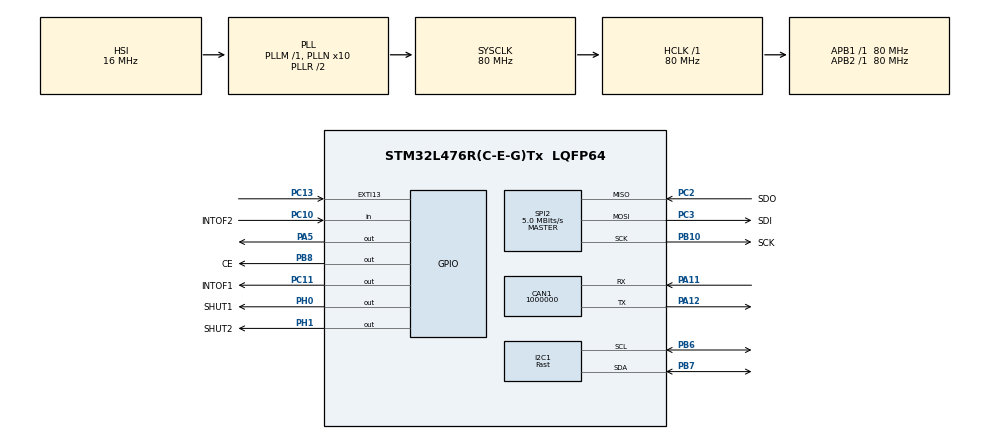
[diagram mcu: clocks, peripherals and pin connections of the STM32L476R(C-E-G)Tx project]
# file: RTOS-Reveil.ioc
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CAN1.BS1=CAN_BS1_3TQ
CAN1.CalculateBaudRate=1000000
CAN1.CalculateTimeBit=1000
CAN1.CalculateTimeQuantum=200.0
FREERTOS.INCLUDE_vTaskDelayUntil=1
FREERTOS.Tasks01=defaultTask,0,512,StartDefaultTask,Default,NULL,Dynamic,NULL,NULL
FREERTOS.configMINIMAL_STACK_SIZE=256
FREERTOS.configTOTAL_HEAP_SIZE=30000
FREERTOS.configUSE_NEWLIB_REENTRANT=1
I2C1.I2C_Speed_Mode=I2C_Fast
I2C1.Timing=0x00F12981
Mcu.Family=STM32L4
Mcu.Name=STM32L476R(C-E-G)Tx
Mcu.Package=LQFP64
NVIC.CAN1_TX_IRQn=true\:5\:0\:false\:false\:true\:true\:true\:true\:true
NVIC.EXTI15_10_IRQn=true\:5\:0\:false\:false\:true\:true\:false\:true\:true
NVIC.I2C1_EV_IRQn=true\:5\:0\:false\:false\:true\:true\:true\:true\:true
NVIC.PriorityGroup=NVIC_PRIORITYGROUP_4
NVIC.TIM6_DAC_IRQn=true\:15\:0\:false\:false\:true\:false\:false\:true\:true
NVIC.TimeBase=TIM6_DAC_IRQn
NVIC.TimeBaseIP=TIM6
PA11.Mode=CAN_Activate
PA11.Signal=CAN1_RX
PA12.Mode=CAN_Activate
PA12.Signal=CAN1_TX
PA13\ (JTMS-SWDIO).GPIO_Label=TMS
PA13\ (JTMS-SWDIO).Signal=SYS_JTMS-SWDIO
PA14\ (JTCK-SWCLK).GPIO_Label=TCK
PA14\ (JTCK-SWCLK).Signal=SYS_JTCK-SWCLK
PA2.GPIO_Label=USART_TX
PA2.GPIO_Mode=GPIO_MODE_AF_PP
PA2.GPIO_PuPd=GPIO_NOPULL
PA2.GPIO_Speed=GPIO_SPEED_FREQ_VERY_HIGH
PA2.Signal=USART2_TX
PA3.GPIO_Label=USART_RX
PA3.GPIO_Mode=GPIO_MODE_AF_PP
PA3.GPIO_PuPd=GPIO_NOPULL
PA3.GPIO_Speed=GPIO_SPEED_FREQ_VERY_HIGH
PA3.Signal=USART2_RX
PA5.Signal=GPIO_Output
PB10.GPIO_Label=SCK
PB10.Mode=Full_Duplex_Master
PB10.Signal=SPI2_SCK
PB3\ (JTDO-TRACESWO).GPIO_Label=SWO
PB3\ (JTDO-TRACESWO).Signal=SYS_JTDO-SWO
PB6.Mode=I2C
PB6.Signal=I2C1_SCL
PB7.Mode=I2C
PB7.Signal=I2C1_SDA
PB8.GPIO_Label=CE
PB8.Signal=GPIO_Output
PC10.GPIO_Label=INTOF2
PC10.Signal=GPIO_Input
PC11.GPIO_Label=INTOF1
PC11.Signal=GPIO_Output
PC13.Signal=GPXTI13
PC14-OSC32_IN\ (PC14).Signal=RCC_OSC32_IN
PC15-OSC32_OUT\ (PC15).Signal=RCC_OSC32_OUT
PC2.GPIO_Label=SDO
PC2.Mode=Full_Duplex_Master
PC2.Signal=SPI2_MISO
PC3.GPIO_Label=SDI
PC3.Mode=Full_Duplex_Master
PC3.Signal=SPI2_MOSI
PH0-OSC_IN\ (PH0).GPIO_Label=SHUT1
PH0-OSC_IN\ (PH0).Signal=GPIO_Output
PH1-OSC_OUT\ (PH1).GPIO_Label=SHUT2
PH1-OSC_OUT\ (PH1).Signal=GPIO_Output
ProjectManager.HeapSize=0x200
ProjectManager.StackSize=0x400
ProjectManager.TargetToolchain=STM32CubeIDE
RCC.ADCFreq_Value=64000000
RCC.AHBFreq_Value=80000000
RCC.APB1Freq_Value=80000000
RCC.APB1TimFreq_Value=80000000
RCC.APB2Freq_Value=80000000
RCC.APB2TimFreq_Value=80000000
RCC.CortexFreq_Value=80000000
RCC.HCLKFreq_Value=80000000
RCC.HSE_VALUE=8000000
RCC.HSI_VALUE=16000000
RCC.LSE_VALUE=32768
RCC.MSI_VALUE=4000000
RCC.PLLN=10
RCC.PLLSourceVirtual=RCC_PLLSOURCE_HSI
RCC.PREFETCH_ENABLE=1
RCC.SYSCLKFreq_VALUE=80000000
RCC.SYSCLKSource=RCC_SYSCLKSOURCE_PLLCLK
RCC.USBFreq_Value=64000000
RCC.VCOOutputFreq_Value=160000000
SPI2.BaudRatePrescaler=SPI_BAUDRATEPRESCALER_16
SPI2.CLKPhase=SPI_PHASE_2EDGE
SPI2.CalculateBaudRate=5.0 MBits/s
SPI2.DataSize=SPI_DATASIZE_8BIT
SPI2.Direction=SPI_DIRECTION_2LINES
SPI2.Mode=SPI_MODE_MASTER
SPI2.VirtualType=VM_MASTER
VP_FREERTOS_VS_CMSIS_V1.Mode=CMSIS_V1
VP_SYS_VS_tim6.Mode=TIM6
board=NUCLEO-L476RG

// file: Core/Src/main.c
/* USER CODE BEGIN Header */
/**
  ******************************************************************************
  * @file           : main.c
  * @brief          : Main program body
  ******************************************************************************
  * @attention
  *
  * Copyright (c) 2026 STMicroelectronics.
  * All rights reserved.
  *
  * This software is licensed under terms that can be found in the LICENSE file
  * in the root directory of this software component.
  * If no LICENSE file comes with this software, it is provided AS-IS.
  *
  ******************************************************************************
  */
/* USER CODE END Header */
#include "main.h"
#include "cmsis_os.h"

/* USER CODE BEGIN Includes */
#include <stdio.h>
#include <stdlib.h>
#include <stdbool.h>
#include "fonts.h"
#include "ssd1306.h"
#include "SGP40.h"
#include "../../Drivers/VL53L1_Nucleo/core/inc/vl53l1_api.h"
/* USER CODE END Includes */

/* USER CODE BEGIN PTD */

typedef struct {
    int8_t    temp_MSB;
    uint8_t    temp_LSB;
    uint16_t voc_index;      // SRAW_VOC en ticks
    bool     voc_valid;   // false si le SGP40 est absent ou en échec
    bool     air_bad;     // true => déclencher l'aération
	bool tof_set;
	int16_t tof_measure;
} SensorData_t;

    typedef struct {
        int32_t integer :24;
        uint32_t dec :8;
    } Q8;
/* USER CODE END PTD */

/* USER CODE BEGIN PD */
#define AQ_ADRR 0x59
#define TEMP_ADRR 0x80

#define CAN_ID_SENSORS  0x01

#define VOC_BAD_ON    150   // passe en "mauvais" au-dessus de ce seuil
#define VOC_BAD_OFF   125   // repasse en "normal" sous ce seuil (hystérésis)
#define VOC_BAD_COUNT 3     // nombre de mesures consécutives avant de déclencher

#define TEMP_BAD_ON     25
#define TEMP_BAD_OFF     23
#define TEMP_BAD_COUNT 3     // nombre de mesures consécutives avant de déclencher

#define TOF_INTERVAL 10000	//5min : 5 * 60 * 1000 = 300 000s (pour le test, on met 10s soit 10 000ms)
#define TOF_SEND_ID 0x10
/* USER CODE END PD */

CAN_HandleTypeDef hcan1;

I2C_HandleTypeDef hi2c1;

SPI_HandleTypeDef hspi2;

osThreadId defaultTaskHandle;
/* USER CODE BEGIN PV */

QueueHandle_t xSensorQueue;  // xQueueCreate(1, sizeof(SensorData_t))
SemaphoreHandle_t xI2CMutex;

VL53L1_Dev_t devLeft;
VL53L1_Dev_t devRight;

/* USER CODE END PV */

void SystemClock_Config(void);
static void MX_GPIO_Init(void);
static void MX_I2C1_Init(void);
static void MX_SPI2_Init(void);
static void MX_CAN1_Init(void);
void StartDefaultTask(void const * argument);

/* USER CODE BEGIN PFP */

void vSensorTask(void *pvParameters);
void vTxCanTask(void *pvParameters);
void vReadTofTask(void *pvParameters);

/* USER CODE END PFP */

int main(void)
{

  /* MCU Configuration--------------------------------------------------------*/

  /* Reset of all peripherals, Initializes the Flash interface and the Systick. */
  HAL_Init();

  /* Configure the system clock */
  SystemClock_Config();

  /* Initialize all configured peripherals */
  MX_GPIO_Init();
  MX_I2C1_Init();
  MX_SPI2_Init();
  MX_CAN1_Init();

  /* USER CODE BEGIN RTOS_SEMAPHORES */
  xI2CMutex = xSemaphoreCreateMutex();
  /* USER CODE END RTOS_SEMAPHORES */

  /* USER CODE BEGIN RTOS_QUEUES */
  /* add queues, ... */
  xSensorQueue = xQueueCreate(5, sizeof(SensorData_t));
  /* USER CODE END RTOS_QUEUES */

  /* Create the thread(s) */
  /* definition and creation of defaultTask */
  osThreadDef(defaultTask, StartDefaultTask, osPriorityNormal, 0, 512);
  defaultTaskHandle = osThreadCreate(osThread(defaultTask), NULL);

  /* USER CODE BEGIN RTOS_THREADS */
  /* add threads, ... */
  xTaskCreate(      vSensorTask,       /* Function that implements the task. */
                      "Sensors' reading",          /* Text name for the task. */
                      512,      /* Stack size in words, not bytes. */
                      NULL,    /* Parameter passed into the task. */
                      tskIDLE_PRIORITY+1,/* Priority at which the task is created. */
                      NULL );      /* Used to pass out the created task's handle. */

  xTaskCreate(vTxCanTask,	/* Function that implements the task. */
		  "Bus Can",          /* Text name for the task. */
          512,      /* Stack size in words, not bytes. */
          NULL,    /* Parameter passed into the task. */
		  tskIDLE_PRIORITY+1,/* Priority at which the task is created. */
          NULL );

	xTaskCreate(      vReadTofTask,       /* Function that implements the task. */
		          "lecture des tof",          /* Text name for the task. */
		           512,      /* Stack size in words, not bytes. */
		           NULL,    /* Parameter passed into the task. */
		           tskIDLE_PRIORITY+1,/* Priority at which the task is created. */
		           NULL );      /* Used to pass out the created task's handle. */

  /* USER CODE END RTOS_THREADS */

  /* Start scheduler */
  osKernelStart();

  /* We should never get here as control is now taken by the scheduler */

  /* Infinite loop */
  while (1)
  {

  }
}

void SystemClock_Config(void)
{
  RCC_OscInitTypeDef RCC_OscInitStruct = {0};
  RCC_ClkInitTypeDef RCC_ClkInitStruct = {0};

  /** Configure the main internal regulator output voltage
  */
  if (HAL_PWREx_ControlVoltageScaling(PWR_REGULATOR_VOLTAGE_SCALE1) != HAL_OK)
  {
    Error_Handler();
  }

  /** Initializes the RCC Oscillators according to the specified parameters
  * in the RCC_OscInitTypeDef structure.
  */
  RCC_OscInitStruct.OscillatorType = RCC_OSCILLATORTYPE_HSI;
  RCC_OscInitStruct.HSIState = RCC_HSI_ON;
  RCC_OscInitStruct.HSICalibrationValue = RCC_HSICALIBRATION_DEFAULT;
  RCC_OscInitStruct.PLL.PLLState = RCC_PLL_ON;
  RCC_OscInitStruct.PLL.PLLSource = RCC_PLLSOURCE_HSI;
  RCC_OscInitStruct.PLL.PLLM = 1;
  RCC_OscInitStruct.PLL.PLLN = 10;
  RCC_OscInitStruct.PLL.PLLP = RCC_PLLP_DIV7;
  RCC_OscInitStruct.PLL.PLLQ = RCC_PLLQ_DIV2;
  RCC_OscInitStruct.PLL.PLLR = RCC_PLLR_DIV2;
  if (HAL_RCC_OscConfig(&RCC_OscInitStruct) != HAL_OK)
  {
    Error_Handler();
  }

  /** Initializes the CPU, AHB and APB buses clocks
  */
  RCC_ClkInitStruct.ClockType = RCC_CLOCKTYPE_HCLK|RCC_CLOCKTYPE_SYSCLK
                              |RCC_CLOCKTYPE_PCLK1|RCC_CLOCKTYPE_PCLK2;
  RCC_ClkInitStruct.SYSCLKSource = RCC_SYSCLKSOURCE_PLLCLK;
  RCC_ClkInitStruct.AHBCLKDivider = RCC_SYSCLK_DIV1;
  RCC_ClkInitStruct.APB1CLKDivider = RCC_HCLK_DIV1;
  RCC_ClkInitStruct.APB2CLKDivider = RCC_HCLK_DIV1;

  if (HAL_RCC_ClockConfig(&RCC_ClkInitStruct, FLASH_LATENCY_4) != HAL_OK)
  {
    Error_Handler();
  }
}

static void MX_CAN1_Init(void)
{

  hcan1.Instance = CAN1;
  hcan1.Init.Prescaler = 16;
  hcan1.Init.Mode = CAN_MODE_NORMAL;
  hcan1.Init.SyncJumpWidth = CAN_SJW_1TQ;
  hcan1.Init.TimeSeg1 = CAN_BS1_3TQ;
  hcan1.Init.TimeSeg2 = CAN_BS2_1TQ;
  hcan1.Init.TimeTriggeredMode = DISABLE;
  hcan1.Init.AutoBusOff = DISABLE;
  hcan1.Init.AutoWakeUp = DISABLE;
  hcan1.Init.AutoRetransmission = DISABLE;
  hcan1.Init.ReceiveFifoLocked = DISABLE;
  hcan1.Init.TransmitFifoPriority = DISABLE;
  if (HAL_CAN_Init(&hcan1) != HAL_OK)
  {
    Error_Handler();
  }

}

static void MX_I2C1_Init(void)
{

  hi2c1.Instance = I2C1;
  hi2c1.Init.Timing = 0x00F12981;
  hi2c1.Init.OwnAddress1 = 0;
  hi2c1.Init.AddressingMode = I2C_ADDRESSINGMODE_7BIT;
  hi2c1.Init.DualAddressMode = I2C_DUALADDRESS_DISABLE;
  hi2c1.Init.OwnAddress2 = 0;
  hi2c1.Init.OwnAddress2Masks = I2C_OA2_NOMASK;
  hi2c1.Init.GeneralCallMode = I2C_GENERALCALL_DISABLE;
  hi2c1.Init.NoStretchMode = I2C_NOSTRETCH_DISABLE;
  if (HAL_I2C_Init(&hi2c1) != HAL_OK)
  {
    Error_Handler();
  }

  /** Configure Analogue filter
  */
  if (HAL_I2CEx_ConfigAnalogFilter(&hi2c1, I2C_ANALOGFILTER_ENABLE) != HAL_OK)
  {
    Error_Handler();
  }

  /** Configure Digital filter
  */
  if (HAL_I2CEx_ConfigDigitalFilter(&hi2c1, 0) != HAL_OK)
  {
    Error_Handler();
  }

}

static void MX_SPI2_Init(void)
{

  /* SPI2 parameter configuration*/
  hspi2.Instance = SPI2;
  hspi2.Init.Mode = SPI_MODE_MASTER;
  hspi2.Init.Direction = SPI_DIRECTION_2LINES;
  hspi2.Init.DataSize = SPI_DATASIZE_8BIT;
  hspi2.Init.CLKPolarity = SPI_POLARITY_LOW;
  hspi2.Init.CLKPhase = SPI_PHASE_2EDGE;
  hspi2.Init.NSS = SPI_NSS_SOFT;
  hspi2.Init.BaudRatePrescaler = SPI_BAUDRATEPRESCALER_16;
  hspi2.Init.FirstBit = SPI_FIRSTBIT_MSB;
  hspi2.Init.TIMode = SPI_TIMODE_DISABLE;
  hspi2.Init.CRCCalculation = SPI_CRCCALCULATION_DISABLE;
  hspi2.Init.CRCPolynomial = 7;
  hspi2.Init.CRCLength = SPI_CRC_LENGTH_DATASIZE;
  hspi2.Init.NSSPMode = SPI_NSS_PULSE_DISABLE;
  if (HAL_SPI_Init(&hspi2) != HAL_OK)
  {
    Error_Handler();
  }
  /* USER CODE BEGIN SPI2_Init 2 */
  HAL_GPIO_WritePin(CE_GPIO_Port, CE_Pin, GPIO_PIN_RESET); //CE actif état haut -> On désactive
  /* USER CODE END SPI2_Init 2 */

}

static void MX_GPIO_Init(void)
{
  GPIO_InitTypeDef GPIO_InitStruct = {0};

  /* GPIO Ports Clock Enable */
  __HAL_RCC_GPIOC_CLK_ENABLE();
  __HAL_RCC_GPIOH_CLK_ENABLE();
  __HAL_RCC_GPIOA_CLK_ENABLE();
  __HAL_RCC_GPIOB_CLK_ENABLE();

  /*Configure GPIO pin Output Level */
  HAL_GPIO_WritePin(GPIOH, SHUT1_Pin|SHUT2_Pin, GPIO_PIN_RESET);

  /*Configure GPIO pin Output Level */
  HAL_GPIO_WritePin(GPIOA, GPIO_PIN_5, GPIO_PIN_RESET);

  /*Configure GPIO pin Output Level */
  HAL_GPIO_WritePin(INTOF1_GPIO_Port, INTOF1_Pin, GPIO_PIN_RESET);

  /*Configure GPIO pin Output Level */
  HAL_GPIO_WritePin(CE_GPIO_Port, CE_Pin, GPIO_PIN_RESET);

  /*Configure GPIO pin : PC13 */
  GPIO_InitStruct.Pin = GPIO_PIN_13;
  GPIO_InitStruct.Mode = GPIO_MODE_IT_RISING;
  GPIO_InitStruct.Pull = GPIO_NOPULL;
  HAL_GPIO_Init(GPIOC, &GPIO_InitStruct);

  /*Configure GPIO pins : SHUT1_Pin SHUT2_Pin */
  GPIO_InitStruct.Pin = SHUT1_Pin|SHUT2_Pin;
  GPIO_InitStruct.Mode = GPIO_MODE_OUTPUT_PP;
  GPIO_InitStruct.Pull = GPIO_NOPULL;
  GPIO_InitStruct.Speed = GPIO_SPEED_FREQ_LOW;
  HAL_GPIO_Init(GPIOH, &GPIO_InitStruct);

  /*Configure GPIO pins : USART_TX_Pin USART_RX_Pin */
  GPIO_InitStruct.Pin = USART_TX_Pin|USART_RX_Pin;
  GPIO_InitStruct.Mode = GPIO_MODE_AF_PP;
  GPIO_InitStruct.Pull = GPIO_NOPULL;
  GPIO_InitStruct.Speed = GPIO_SPEED_FREQ_VERY_HIGH;
  GPIO_InitStruct.Alternate = GPIO_AF7_USART2;
  HAL_GPIO_Init(GPIOA, &GPIO_InitStruct);

  /*Configure GPIO pin : PA5 */
  GPIO_InitStruct.Pin = GPIO_PIN_5;
  GPIO_InitStruct.Mode = GPIO_MODE_OUTPUT_PP;
  GPIO_InitStruct.Pull = GPIO_NOPULL;
  GPIO_InitStruct.Speed = GPIO_SPEED_FREQ_LOW;
  HAL_GPIO_Init(GPIOA, &GPIO_InitStruct);

  /*Configure GPIO pin : INTOF2_Pin */
  GPIO_InitStruct.Pin = INTOF2_Pin;
  GPIO_InitStruct.Mode = GPIO_MODE_INPUT;
  GPIO_InitStruct.Pull = GPIO_NOPULL;
  HAL_GPIO_Init(INTOF2_GPIO_Port, &GPIO_InitStruct);

  /*Configure GPIO pin : INTOF1_Pin */
  GPIO_InitStruct.Pin = INTOF1_Pin;
  GPIO_InitStruct.Mode = GPIO_MODE_OUTPUT_PP;
  GPIO_InitStruct.Pull = GPIO_NOPULL;
  GPIO_InitStruct.Speed = GPIO_SPEED_FREQ_LOW;
  HAL_GPIO_Init(INTOF1_GPIO_Port, &GPIO_InitStruct);

  /*Configure GPIO pin : CE_Pin */
  GPIO_InitStruct.Pin = CE_Pin;
  GPIO_InitStruct.Mode = GPIO_MODE_OUTPUT_PP;
  GPIO_InitStruct.Pull = GPIO_NOPULL;
  GPIO_InitStruct.Speed = GPIO_SPEED_FREQ_LOW;
  HAL_GPIO_Init(CE_GPIO_Port, &GPIO_InitStruct);

  /* EXTI interrupt init*/
  HAL_NVIC_SetPriority(EXTI15_10_IRQn, 5, 0);
  HAL_NVIC_EnableIRQ(EXTI15_10_IRQn);

}

/* USER CODE BEGIN 4 */

/*----------------------------------------------------------------------------
 *        Functions
 *---------------------------------------------------------------------------*/

void HAL_Delay(uint32_t Delay) {
	vTaskDelay(pdMS_TO_TICKS((Delay)));
}

void sensor_write_reg(uint8_t addr, uint8_t val)
{
    uint8_t tx[2] = { addr, val };
    HAL_GPIO_WritePin(CE_GPIO_Port, CE_Pin, GPIO_PIN_SET);
    HAL_SPI_Transmit(&hspi2, tx, 2, 10);
    HAL_GPIO_WritePin(CE_GPIO_Port, CE_Pin, GPIO_PIN_RESET);
}

void sensor_read_reg(uint8_t addr, uint8_t *rx_buffer)
{
    HAL_GPIO_WritePin(CE_GPIO_Port, CE_Pin, GPIO_PIN_SET);
    HAL_SPI_Transmit(&hspi2, &addr, 1, 10);
    HAL_SPI_Receive(&hspi2, rx_buffer, 3, 10);
    HAL_GPIO_WritePin(CE_GPIO_Port, CE_Pin, GPIO_PIN_RESET);
}

// Filtre anti-rebond : renvoie l'état "air mauvais"
static bool update_air_bad(uint16_t voc)
{
    static bool     bad = false;
    static uint8_t  cnt = 0;

    if (voc == 0) return bad;            // phase d'init : on ne change rien

    if (!bad) {
        cnt = (voc > VOC_BAD_ON) ? cnt + 1 : 0;
        if (cnt >= VOC_BAD_COUNT) { bad = true; cnt = 0; }
    } else if (voc < VOC_BAD_OFF) {
        bad = false;
    }
    return bad;
}

// Filtre anti-rebond : renvoie l'état "température trop haute"
static bool update_temp_bad(int8_t temp_MSB)
{
    static bool     bad = false;
    static uint8_t  cnt = 0;

    if (!bad) {
        cnt = (temp_MSB >= TEMP_BAD_ON) ? cnt + 1 : 0;
        if (cnt >= TEMP_BAD_COUNT) { bad = true; cnt = 0; }
    } else if (temp_MSB < TEMP_BAD_OFF) {
        bad = false;
    }
    return bad;
}

// Écrit le Q8 sur 4 octets : 3 octets de partie entière (big-endian) puis 1 octet de décimale
static void q8_to_bytes(Q8 v, uint8_t *p)
{
    int32_t i = v.integer;
    p[0] = (uint8_t)( i        & 0xFF);   // poids faible en premier
    p[1] = (uint8_t)((i >> 8)  & 0xFF);
    p[2] = (uint8_t)((i >> 16) & 0xFF);
    p[3] = (uint8_t)v.dec;
}

static HAL_StatusTypeDef can_send(char type, Q8 val, bool good)
{
    static CAN_TxHeaderTypeDef hdr = {
        .StdId = CAN_ID_SENSORS,
        .IDE   = CAN_ID_STD,
        .RTR   = CAN_RTR_DATA,
        .DLC   = 7,
        .TransmitGlobalTime = DISABLE
    };
    uint8_t  msg[8] = {0};
    uint32_t mailbox;

    msg[0] = 'E';
    msg[1] = (uint8_t)type;          // 'T' ou 'A' ou 'S'
    q8_to_bytes(val, &msg[2]);       // octets 2 à 5
    msg[6] = good ? 0 : 1;           // 0 = OK, 1 = AUTO (aération)

    if (HAL_CAN_GetTxMailboxesFreeLevel(&hcan1) == 0)
        return HAL_BUSY;
    return HAL_CAN_AddTxMessage(&hcan1, &hdr, msg, &mailbox);
}

void ResetAndInitializeTOF1(void) {
	VL53L1_DEV Dev;
	VL53L1_DetectionConfig_t DetectionConfig;
	uint8_t newI2C = 0x52;
	/* Reset the 1 ToF sensors on the expansion board */
	HAL_GPIO_WritePin(GPIOH, SHUT1_Pin, GPIO_PIN_RESET);
	HAL_Delay(10);
	/* Bring the sensors out of the reset stage one by one and set the new I2C address */
	Dev = &devLeft;
	HAL_GPIO_WritePin(GPIOH, SHUT1_Pin, GPIO_PIN_SET);
	HAL_Delay(50);
	Dev->comms_speed_khz = 400;
	Dev->I2cHandle = &hi2c1;
	Dev->comms_type = 1;
	Dev->I2cDevAddr = 0x52;
	VL53L1_SetDeviceAddress(Dev, newI2C);
	Dev->I2cDevAddr = newI2C;
	/* Device Initialization and setting */
	VL53L1_WaitDeviceBooted(Dev);
	VL53L1_DataInit(Dev);
	VL53L1_StaticInit(Dev);
	/* Vérification de l'identification du capteur */
	uint8_t device_id = 0;
	VL53L1_RdByte(Dev, 0x010F, &device_id);
	char msg[30];
	sprintf(msg, "TOF1 ID: 0x%02X\r\n", device_id);
	//HAL_UART_Transmit(&huart2, msg, strlen(msg), HAL_MAX_DELAY);
	VL53L1_SetDistanceMode(Dev, VL53L1_DISTANCEMODE_SHORT);
	VL53L1_SetMeasurementTimingBudgetMicroSeconds(Dev, 40000);
	VL53L1_SetInterMeasurementPeriodMilliSeconds(Dev, 50);
	memset(&DetectionConfig, 0, sizeof(DetectionConfig));
	DetectionConfig.DetectionMode = VL53L1_DETECTION_DISTANCE_ONLY;
	DetectionConfig.IntrNoTarget = 0;
	DetectionConfig.Distance.CrossMode = VL53L1_THRESHOLD_CROSSED_LOW;
	DetectionConfig.Distance.Low = 300;
	DetectionConfig.Distance.High = 1000;
	VL53L1_SetThresholdConfig(Dev, &DetectionConfig);
	VL53L1_UserRoi_t roiConfig;
	roiConfig.TopLeftX = 0;
	roiConfig.TopLeftY = 15;
	roiConfig.BotRightX = 15;
	roiConfig.BotRightY = 0;
//	VL53L1_SetUserROI(Dev, &roiConfig);
	VL53L1_Error err = VL53L1_ClearInterruptAndStartMeasurement(Dev);
	sprintf(msg, "TOF1 start err: %d\r\n", err);
	//HAL_UART_Transmit(&huart2, msg, strlen(msg), HAL_MAX_DELAY);
}

void ResetAndInitializeTOF2(void) {
	VL53L1_DEV Dev;
	VL53L1_DetectionConfig_t DetectionConfig;
	uint8_t newI2C = 0x52 + 4;
	VL53L1_Error err;
	char msg[20];
	/* Reset the 1 ToF sensors on the expansion board */
	HAL_GPIO_WritePin(GPIOH, SHUT2_Pin, GPIO_PIN_RESET);
	HAL_Delay(10);
	/* Bring the sensors out of the reset stage one by one and set the new I2C address */
	Dev = &devRight;
	HAL_GPIO_WritePin(GPIOH, SHUT2_Pin, GPIO_PIN_SET);
	HAL_Delay(50);
	Dev->comms_speed_khz = 400;
	Dev->I2cHandle = &hi2c1;
	Dev->comms_type = 1;
	Dev->I2cDevAddr = 0x52; /* default ToF sensor I2C address*/
	err = VL53L1_SetDeviceAddress(Dev, newI2C);
	sprintf(msg, "TOF2 address err: %d\r\n", err);
	//HAL_UART_Transmit(&huart2, msg, strlen(msg), HAL_MAX_DELAY);
	Dev->I2cDevAddr = newI2C;
	/* Device Initialization and setting */
	VL53L1_WaitDeviceBooted(Dev);
	VL53L1_DataInit(Dev);
	VL53L1_StaticInit(Dev);
	/* Vérification de l'identification du capteur */
	uint8_t device_id = 0;
	VL53L1_RdByte(Dev, 0x010F, &device_id);
	sprintf(msg, "TOF2 ID: 0x%02X\r\n", device_id);
	//HAL_UART_Transmit(&huart2, msg, strlen(msg), HAL_MAX_DELAY);
	VL53L1_SetDistanceMode(Dev, VL53L1_DISTANCEMODE_SHORT);
	VL53L1_SetMeasurementTimingBudgetMicroSeconds(Dev, 40000);
	VL53L1_SetInterMeasurementPeriodMilliSeconds(Dev, 50);
	memset(&DetectionConfig, 0, sizeof(DetectionConfig));
	DetectionConfig.DetectionMode = VL53L1_DETECTION_DISTANCE_ONLY;
	DetectionConfig.IntrNoTarget = 0;
	DetectionConfig.Distance.CrossMode = VL53L1_THRESHOLD_CROSSED_LOW;
	DetectionConfig.Distance.Low = 300;
	DetectionConfig.Distance.High = 500;
	VL53L1_SetThresholdConfig(Dev, &DetectionConfig);
	VL53L1_UserRoi_t roiConfig;
	roiConfig.TopLeftX = 0;
	roiConfig.TopLeftY = 15;
	roiConfig.BotRightX = 15;
	roiConfig.BotRightY = 0;
	VL53L1_SetUserROI(Dev, &roiConfig);
	err = VL53L1_ClearInterruptAndStartMeasurement(Dev);
	sprintf(msg, "TOF2 start err: %d\r\n", err);
	//HAL_UART_Transmit(&huart2, msg, strlen(msg), HAL_MAX_DELAY);
}

/*----------------------------------------------------------------------------
 *        Task
 *---------------------------------------------------------------------------*/
void vSensorTask(void *pvParameters)
{
	bool aq_ok = (SGP40_Init() == 0);     // ~500 ms, appelé depuis la tâche
	TickType_t xLastWake = xTaskGetTickCount();
	float temp_prev = 25.0f;

    while(1)    {

        sensor_write_reg(TEMP_ADRR, 0x15);                       // température (SPI)  (Need 150 ms)

        uint16_t voc = 0;
        if (aq_ok)
            voc = SGP40_MeasureVOC(temp_prev, 50.0f);    // ~30 ms, compensée en température

        vTaskDelay(pdMS_TO_TICKS(150));                  // Ne pas mettre moins, sinon ça ne marche pas

        uint8_t rxSpi[3] = {0};
        sensor_read_reg( (uint8_t) 0x02, rxSpi);  //Reading Temp sensor (SPI)

        temp_prev = (int8_t)rxSpi[0] + (rxSpi[1] >> 6) * 0.25f;   // compensation du SGP40

        SensorData_t d = {
            .temp_MSB  = (int8_t)rxSpi[0],
            .temp_LSB  = rxSpi[1],
            .voc_index = voc,
            .voc_valid = aq_ok,
            .air_bad   = aq_ok && update_air_bad(voc),
			.tof_set	= false
        };

        xQueueSend(xSensorQueue, &d, pdMS_TO_TICKS(10));
        vTaskDelayUntil(&xLastWake, pdMS_TO_TICKS(2000));
    }
}

void vTxCanTask(void *pv)
{
    SensorData_t d;

    HAL_CAN_Start(&hcan1);           // indispensable avant tout envoi

    while(1)
    {
        if (xQueueReceive(xSensorQueue, &d, portMAX_DELAY) == pdTRUE)
        {
			if (!d.tof_set){
				 // Température
				Q8 t;
				t.integer = d.temp_MSB;
				t.dec     = d.temp_LSB & 0xC0;
				can_send('T', t, !update_temp_bad(d.temp_MSB));

				// Qualité d'air
				Q8 a;
				a.integer = d.voc_index;
				a.dec     = 0;
				can_send('A', a, d.voc_valid && !d.air_bad);
			}
			else{
				Q8 tof;
				tof.dec = 0;
				tof.integer = d.tof_measure;
				can_send('S', tof, true);
			}

        }
    }
}

void vReadTofTask(void *pvParameters) {
	ResetAndInitializeTOF1();
	ResetAndInitializeTOF2();
	TickType_t xLastWakeTime;
	xLastWakeTime = xTaskGetTickCount();

	SensorData_t d;

	while (1) {

		uint8_t ready;
		VL53L1_Error err;

		xSemaphoreTake(xI2CMutex, portMAX_DELAY);

		if ((err = VL53L1_GetMeasurementDataReady(&devRight, &ready)) == VL53L1_ERROR_NONE && ready) {
//		if (VL53L1_GetMeasurementDataReady(&devRight, &ready), ready) {
			VL53L1_RangingMeasurementData_t measure;
			if (VL53L1_GetRangingMeasurementData(&devRight, &measure) != VL53L1_ERROR_NONE) {
//				printf("Failed to read TOF stop\r\n");
			} else {
				if (measure.RangeStatus == 0 || measure.RangeStatus == 5 ){
					d.tof_measure = measure.RangeMilliMeter ;
					d.tof_set = true;
					xQueueSend(xSensorQueue, &d, pdMS_TO_TICKS(10));
				}
			}
		}
//		VL53L1_ClearInterruptAndStartMeasurement(&devRight);
		xSemaphoreGive(xI2CMutex);

		vTaskDelayUntil(&xLastWakeTime, pdMS_TO_TICKS(TOF_INTERVAL));
	}

}

/* USER CODE END 4 */

void StartDefaultTask(void const * argument)
{
  for(;;)
  {
    osDelay(1);
  }
}

void HAL_TIM_PeriodElapsedCallback(TIM_HandleTypeDef *htim)
{
  if (htim->Instance == TIM6)
  {
    HAL_IncTick();
  }
}

void Error_Handler(void)
{
  __disable_irq();
  while (1)
  {
  }
}
